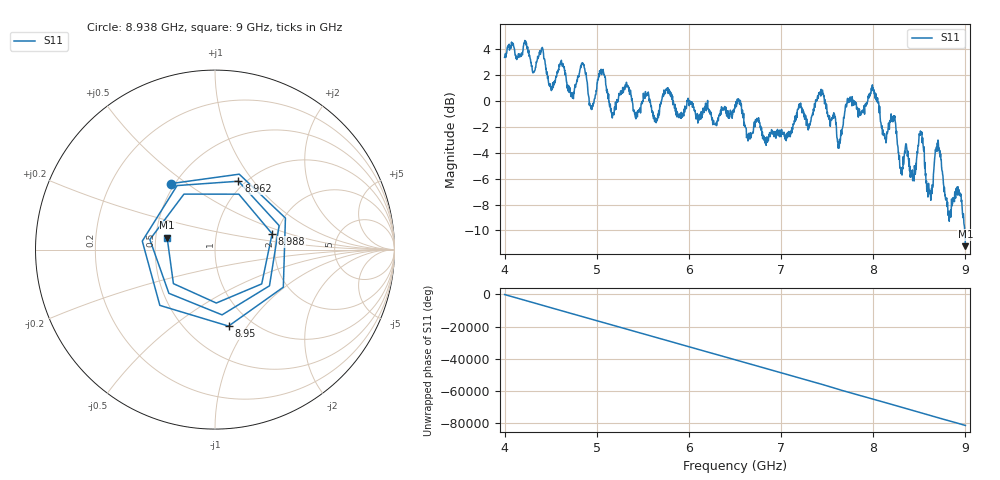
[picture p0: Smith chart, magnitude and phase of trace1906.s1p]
! Created with skrf 1.8.0 (http://scikit-rf.org).
# Hz S RI R 50.0
!freq ReS11 ImS11
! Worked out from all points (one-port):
!   1601 points, 4 GHz to 9 GHz, reference 50 ohm
!   lowest |S11| = -11.2 dB at 9 GHz (marker M1), VSWR 1.76, Z = 28.7 + j4.13 ohm
!   |S11| at or under -10 dB: 8.991775 GHz to end of sweep
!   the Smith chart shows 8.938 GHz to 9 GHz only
!   S11 on the Smith chart (normalised r, x): 8.938 GHz: 0.48, +0.44; 8.95 GHz: 0.78, -0.82; 8.962 GHz: 0.93, +0.85; 8.988 GHz: 1.89, +0.37; 9 GHz: 0.57, +0.08
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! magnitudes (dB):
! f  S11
! 4 GHz  3.4
! 4.625 GHz  2.7
! 4.731 GHz  0.7
! 4.85 GHz  2.9
! 4.944 GHz  -0.6
! 5.047 GHz  2.5
! 5.162 GHz  -0.9
! 5.25 GHz  0.5
! 5.875 GHz  -0.9
! 6.5 GHz  -0.3
! 6.65 GHz  -2.8
! 7.125 GHz  -2.2
! 7.434 GHz  0.9
! 7.631 GHz  -3.6
! 7.75 GHz  0.3
! 8.003 GHz  0.8
! 8.119 GHz  -2.7
! 8.375 GHz  -4.1
! 8.434 GHz  -6.1
! 8.519 GHz  -2.5
! 8.616 GHz  -6.9
! 8.7 GHz  -3.6
! 8.819 GHz  -8.5
! 8.938 GHz  -7.1
! 8.95 GHz  -7.3
! 8.962 GHz  -7.9
! 8.988 GHz  -9.6
! 9 GHz  -11.2
